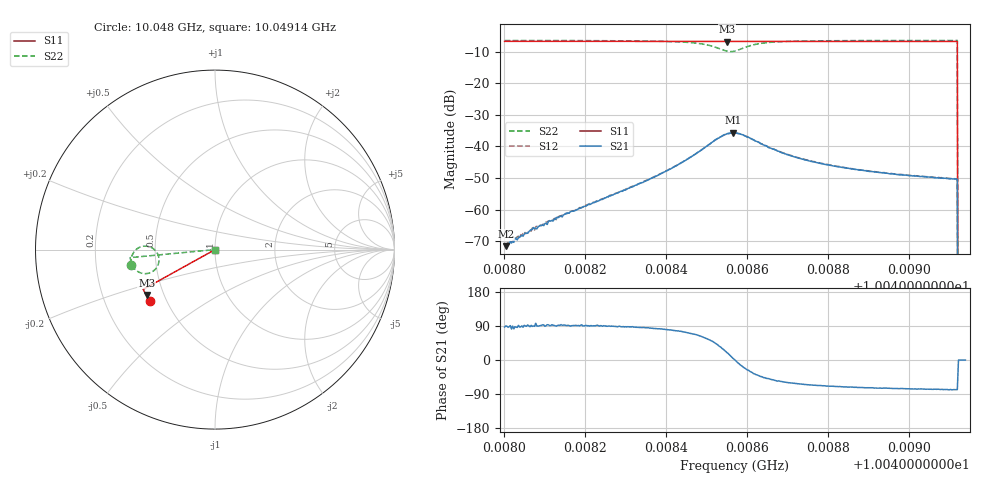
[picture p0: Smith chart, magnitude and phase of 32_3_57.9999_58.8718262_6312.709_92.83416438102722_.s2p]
#  HZ  S  RI  R  50.00
! Rohde & Schwarz Vector Network Analyzer
! Rohde-Schwarz,ZNB20-2Port,1311601062101988,3.16
! Created: UTC 3/21/2024, 12:51:44 AM
! freq[Hz]  re:S11  im:S11  re:S21  im:S21  re:S12  im:S12  re:S22  im:S22
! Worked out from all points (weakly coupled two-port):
!   401 points, 10.048 GHz to 10.04914 GHz, reference 50 ohm
!   highest |S21| = -35.67 dB at 10.04856 GHz (marker M1); lowest = -71.6 dB at 10.04801 GHz (marker M2)
!   lowest |S11| = -6.8 dB at 10.04855 GHz (marker M3), VSWR 2.68, Z = 20.1 - j12.9 ohm
!   |S11| at or under -10 dB: 10.04912 GHz to end of sweep
!   |S22| runs from - to -6.5 dB; largest |S21 - S12| = 0.0013
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1.0048002e10  -0.3611 -0.2842  1.55e-05 0.000278  2.14e-05 0.000269  -0.4664 -0.0844
1.0048005e10  -0.3613 -0.2841  9.62e-07 0.000263  1.31e-05 0.00027  -0.4665 -0.0841
1.0048048e10  -0.3629 -0.2817  2.22e-05 0.000378  -3.39e-05 0.000421  -0.4668 -0.08
1.004807e10  -0.3637 -0.2805  1.12e-05 0.000484  -3.46e-05 0.000507  -0.4671 -0.0777
1.004811e10  -0.3654 -0.2783  -3.3e-05 0.000649  -6.86e-05 0.000659  -0.4675 -0.0736
1.0048193e10  -0.3685 -0.2739  -5.12e-05 0.00108  -9.2e-05 0.00107  -0.4675 -0.064
1.0048383e10  -0.3757 -0.2631  0.000469 0.00352  0.000264 0.00359  -0.4603 -0.0286
1.0048437e10  -0.3778 -0.2599  0.00134 0.00528  0.00109 0.00538  -0.4492 -0.00972
1.0048485e10  -0.3791 -0.257  0.00386 0.00762  0.00345 0.00785  -0.4215 0.0121
1.0048522e10  -0.3799 -0.2546  0.00918 0.00886  0.00843 0.00931  -0.3705 0.0175
1.004855e10  -0.3802 -0.2533  0.015 0.00528  0.0143 0.00624  -0.3205 -0.0218
1.0048565e10  -0.3805 -0.2529  0.0164 0.00142  0.0162 0.00264  -0.3118 -0.0592
1.004857e10  -0.3807 -0.2527  0.0163 1.78e-05  0.0164 0.00111  -0.3139 -0.0746
1.0048599e10  -0.3821 -0.2518  0.0129 -0.00596  0.0135 -0.00518  -0.3541 -0.1258
1.0048638e10  -0.3838 -0.2499  0.00756 -0.00755  0.00815 -0.00713  -0.4098 -0.1313
1.0048698e10  -0.3863 -0.2464  0.00379 -0.00639  0.00423 -0.00624  -0.4446 -0.1106
1.0048761e10  -0.3885 -0.2428  0.00232 -0.00525  0.00265 -0.00516  -0.4582 -0.093
1.004886e10  -0.3921 -0.237  0.00139 -0.00414  0.00164 -0.00412  -0.4664 -0.0743
1.0048951e10  -0.395 -0.2316  0.000977 -0.00355  0.0012 -0.00354  -0.4694 -0.0621
1.0049113e10  -0.4 -0.2222  0.00062 -0.00299  0.000769 -0.00298  -0.4724 -0.0452
1.0049127e10  0 0  0 0  0 0  0 0
1.0049138e10  0 0  0 0  0 0  0 0
